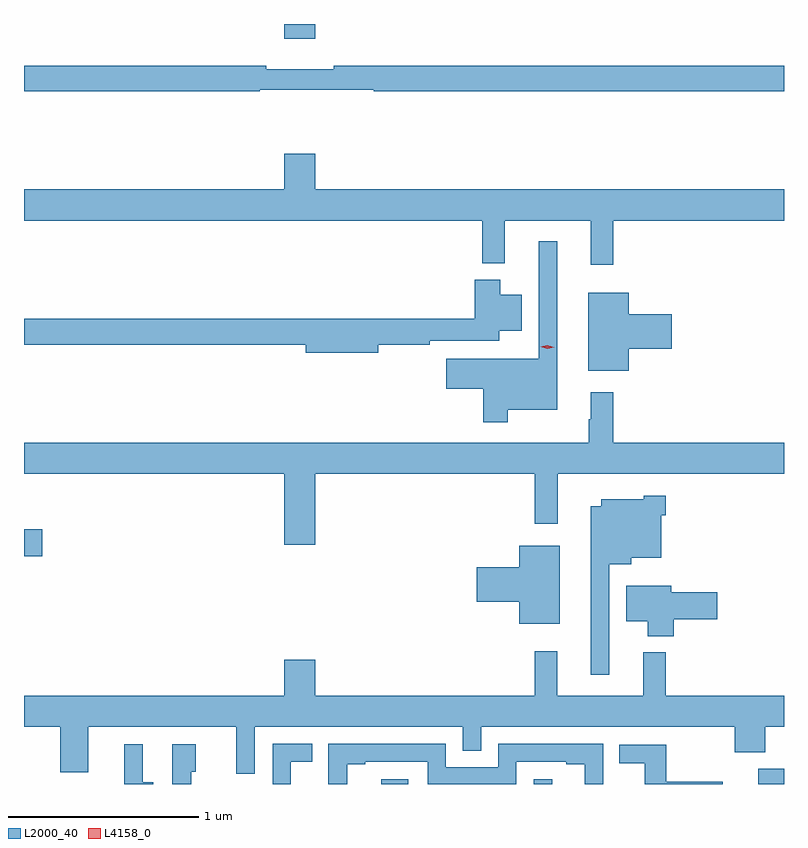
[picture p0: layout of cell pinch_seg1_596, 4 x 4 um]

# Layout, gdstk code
import gdstk
lib = gdstk.Library(unit=1e-6, precision=1e-09)
def R(c, l, rs):  # rectangles x0, y0, x1, y1
    for r in rs: c.add(gdstk.rectangle(r[:2], r[2:], *l))
def P(c, l, *ps):  # polygons
    for p in ps: c.add(gdstk.Polygon(p, *l))
L2000_40 = (2000, 40)
L4158_0 = (4158, 0)

pinch_seg1_596 = lib.new_cell('pinch_seg1_596')
R(pinch_seg1_596, L2000_40, [(1016.665,512.803,1016.809,512.827), (1017.468,512.803,1017.565,512.827), (1018.651,512.803,1018.786,512.884), (1014.786,514.001,1014.883,514.143), (1016.156,516.726,1016.32,516.803)])
P(pinch_seg1_596, L2000_40, [(1016.026,516.456),(1016.626,516.456),(1016.626,516.448),(1018.786,516.448),(1018.786,516.584),(1016.416,516.584),(1016.416,516.565),(1016.06,516.565),(1016.06,516.584),(1014.786,516.584),(1014.786,516.448),(1016.026,516.448)],
  [(1017.199,515.543),(1017.317,515.543),(1017.317,515.768),(1017.77,515.768),(1017.77,515.535),(1017.887,515.535),(1017.887,515.768),(1018.786,515.768),(1018.786,515.932),(1016.32,515.932),(1016.32,516.121),(1016.156,516.121),(1016.156,515.932),(1014.786,515.932),(1014.786,515.768),(1017.199,515.768)],
  [(1017.331,514.772),(1017.592,514.772),(1017.592,515.659),(1017.495,515.659),(1017.495,515.041),(1017.009,515.041),(1017.009,514.883),(1017.202,514.883),(1017.202,514.707),(1017.331,514.707)],
  [(1016.65,515.116),(1016.921,515.116),(1016.921,515.136),(1017.286,515.136),(1017.286,515.189),(1017.406,515.189),(1017.406,515.377),(1017.292,515.377),(1017.292,515.458),(1017.158,515.458),(1017.158,515.252),(1014.786,515.252),(1014.786,515.116),(1016.27,515.116),(1016.27,515.074),(1016.65,515.074)],
  [(1017.97,515.093),(1018.195,515.093),(1018.195,515.276),(1017.97,515.276),(1017.97,515.389),(1017.755,515.389),(1017.755,514.979),(1017.97,514.979)],
  [(1016.32,514.436),(1017.475,514.436),(1017.475,514.173),(1017.594,514.173),(1017.594,514.436),(1018.786,514.436),(1018.786,514.6),(1017.887,514.6),(1017.887,514.864),(1017.77,514.864),(1017.77,514.724),(1017.759,514.724),(1017.759,514.6),(1014.786,514.6),(1014.786,514.436),(1016.156,514.436),(1016.156,514.062),(1016.32,514.062)],
  [(1017.867,513.959),(1017.982,513.959),(1017.982,513.995),(1018.141,513.995),(1018.141,514.217),(1018.163,514.217),(1018.163,514.321),(1018.047,514.321),(1018.047,514.303),(1017.824,514.303),(1017.824,514.264),(1017.77,514.264),(1017.77,513.378),(1017.867,513.378)],
  [(1017.607,514.057),(1017.392,514.057),(1017.392,513.944),(1017.168,513.944),(1017.168,513.761),(1017.392,513.761),(1017.392,513.647),(1017.607,513.647)],
  [(1018.205,513.67),(1018.435,513.67),(1018.435,513.812),(1018.192,513.812),(1018.192,513.847),(1017.956,513.847),(1017.956,513.659),(1018.07,513.659),(1018.07,513.581),(1018.205,513.581)],
  [(1016.001,513.104),(1017.096,513.104),(1017.096,512.977),(1017.192,512.977),(1017.192,513.104),(1018.528,513.104),(1018.528,512.969),(1018.688,512.969),(1018.688,513.104),(1018.786,513.104),(1018.786,513.268),(1018.163,513.268),(1018.163,513.496),(1018.046,513.496),(1018.046,513.268),(1017.593,513.268),(1017.593,513.502),(1017.475,513.502),(1017.475,513.268),(1016.32,513.268),(1016.32,513.457),(1016.156,513.457),(1016.156,513.268),(1014.786,513.268),(1014.786,513.104),(1014.976,513.104),(1014.976,512.865),(1015.123,512.865),(1015.123,513.104),(1015.904,513.104),(1015.904,512.856),(1016.001,512.856)],
  [(1016.486,512.907),(1016.581,512.907),(1016.581,512.919),(1016.91,512.919),(1016.91,512.803),(1017.378,512.803),(1017.378,512.919),(1017.641,512.919),(1017.641,512.907),(1017.737,512.907),(1017.737,512.803),(1017.834,512.803),(1017.834,513.015),(1017.282,513.015),(1017.282,512.892),(1017.006,512.892),(1017.006,513.015),(1016.388,513.015),(1016.388,512.803),(1016.486,512.803)],
  [(1016.19,512.919),(1016.303,512.919),(1016.303,513.015),(1016.094,513.015),(1016.094,512.803),(1016.19,512.803)],
  [(1015.665,512.868),(1015.69,512.868),(1015.69,513.013),(1015.566,513.013),(1015.566,512.803),(1015.665,512.803)],
  [(1015.465,512.811),(1015.411,512.811),(1015.411,513.013),(1015.313,513.013),(1015.313,512.803),(1015.465,512.803)],
  [(1018.463,512.815),(1018.165,512.815),(1018.165,513.009),(1017.919,513.009),(1017.919,512.912),(1018.054,512.912),(1018.054,512.803),(1018.463,512.803)])
P(pinch_seg1_596, L4158_0, [(1017.54,515.093),(1017.506,515.104),(1017.505,515.104),(1017.506,515.104),(1017.541,515.113),(1017.576,515.102),(1017.576,515.102),(1017.576,515.101)])

lib.write_gds('pinch_seg1_596.gds')
